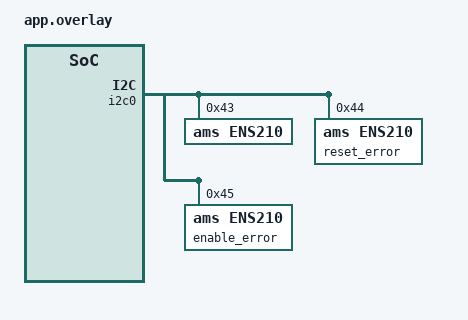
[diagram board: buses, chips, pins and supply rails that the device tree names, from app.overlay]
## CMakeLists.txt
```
# SPDX-FileCopyrightText: Copyright The Zephyr Project Contributors
# SPDX-License-Identifier: Apache-2.0

cmake_minimum_required(VERSION 3.20.0)
find_package(Zephyr REQUIRED HINTS $ENV{ZEPHYR_BASE})
project(ens210)

target_sources(app PRIVATE src/main.c)
target_include_directories(app PRIVATE ${ZEPHYR_BASE}/drivers/sensor/ams/ens210)
```

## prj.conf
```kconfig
# SPDX-FileCopyrightText: Copyright The Zephyr Project Contributors
# SPDX-License-Identifier: Apache-2.0

CONFIG_ZTEST=y
CONFIG_SENSOR=y
CONFIG_I2C=y
CONFIG_EMUL=y
CONFIG_ENS210_CRC_CHECK=n
```

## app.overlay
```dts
/*
 * SPDX-FileCopyrightText: Copyright The Zephyr Project Contributors
 * SPDX-License-Identifier: Apache-2.0
 */

&i2c0 {
	status = "okay";

	ens210: sensor@43 {
		compatible = "ams,ens210";
		reg = <0x43>;
		zephyr,deferred-init;
	};

	reset_error: sensor@44 {
		compatible = "ams,ens210";
		reg = <0x44>;
		zephyr,deferred-init;
	};

	enable_error: sensor@45 {
		compatible = "ams,ens210";
		reg = <0x45>;
		zephyr,deferred-init;
	};
};
```

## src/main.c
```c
/*
 * SPDX-FileCopyrightText: Copyright The Zephyr Project Contributors
 * SPDX-License-Identifier: Apache-2.0
 */

#define DT_DRV_COMPAT ams_ens210

#include <zephyr/device.h>
#include <zephyr/drivers/emul.h>
#include <zephyr/drivers/i2c_emul.h>
#include <zephyr/drivers/sensor.h>
#include <zephyr/sys/byteorder.h>
#include <zephyr/ztest.h>

#include "ens210.h"

struct ens210_emul_data {
	bool active;
	bool reset_seen;
	int reset_error;
	int enable_error;
	int64_t reset_time;
	int64_t enable_delay;
};

static int ens210_transfer(const struct emul *emulator, struct i2c_msg *msgs,
			  int num_msgs, int addr)
{
	struct ens210_emul_data *data = emulator->data;
	uint8_t reg = msgs[0].buf[0];

	ARG_UNUSED(addr);
	if (num_msgs == 1 && msgs[0].len == 2) {
		uint8_t value = msgs[0].buf[1];

		if (reg == ENS210_REG_SYS_CTRL) {
			if (value & BIT(7)) {
				data->reset_seen = true;
				data->reset_time = k_uptime_get();
				return data->reset_error;
			}
			if (data->reset_seen) {
				data->enable_delay = k_uptime_get() - data->reset_time;
				/* Model a device that NACKs until reset has completed. */
				if (data->enable_delay < 2) {
					return -EBUSY;
				}
			}
			if (data->enable_error != 0) {
				return data->enable_error;
			}
			data->active = true;
		}
		return 0;
	}

	if (num_msgs != 2 || msgs[0].len != 1 || !(msgs[1].flags & I2C_MSG_READ)) {
		return -EIO;
	}

	switch (reg) {
	case ENS210_REG_SYS_STAT:
		msgs[1].buf[0] = data->active;
		return 0;
	case ENS210_REG_PART_ID:
		sys_put_le16(ENS210_PART_ID, msgs[1].buf);
		return 0;
	default:
		return -EIO;
	}
}

static int ens210_emul_init(const struct emul *emulator, const struct device *parent)
{
	ARG_UNUSED(emulator);
	ARG_UNUSED(parent);
	return 0;
}

static const struct i2c_emul_api ens210_emul_api = {
	.transfer = ens210_transfer,
};

#define ENS210_EMUL(inst)                                                            \
	static struct ens210_emul_data ens210_emul_data_##inst;                       \
	EMUL_DT_INST_DEFINE(inst, ens210_emul_init, &ens210_emul_data_##inst, NULL,     \
			    &ens210_emul_api, NULL);

DT_INST_FOREACH_STATUS_OKAY(ENS210_EMUL)

ZTEST(ens210, test_reset_delay)
{
	const struct device *dev = DEVICE_DT_GET(DT_NODELABEL(ens210));
	struct ens210_emul_data *data = EMUL_DT_GET(DT_NODELABEL(ens210))->data;

	zassert_true(device_is_ready(dev));
	zassert_true(data->reset_seen);
	zassert_true(data->enable_delay >= 2);
}

ZTEST(ens210, test_reset_error)
{
	const struct device *dev = DEVICE_DT_GET(DT_NODELABEL(reset_error));
	struct ens210_emul_data *data = EMUL_DT_GET(DT_NODELABEL(reset_error))->data;

	data->reset_error = -ENXIO;
	zassert_equal(device_init(dev), -ENXIO);
	zassert_false(device_is_ready(dev));
	zassert_false(data->active);
}

ZTEST(ens210, test_enable_error)
{
	const struct device *dev = DEVICE_DT_GET(DT_NODELABEL(enable_error));
	struct ens210_emul_data *data = EMUL_DT_GET(DT_NODELABEL(enable_error))->data;

	data->enable_error = -ENXIO;
	zassert_equal(device_init(dev), -ENXIO);
	zassert_false(device_is_ready(dev));
	zassert_true(data->reset_seen);
	zassert_false(data->active);
}

static void *ens210_setup(void)
{
	zassert_ok(device_init(DEVICE_DT_GET(DT_NODELABEL(ens210))));
	return NULL;
}

ZTEST_SUITE(ens210, NULL, ens210_setup, NULL, NULL, NULL);
```
